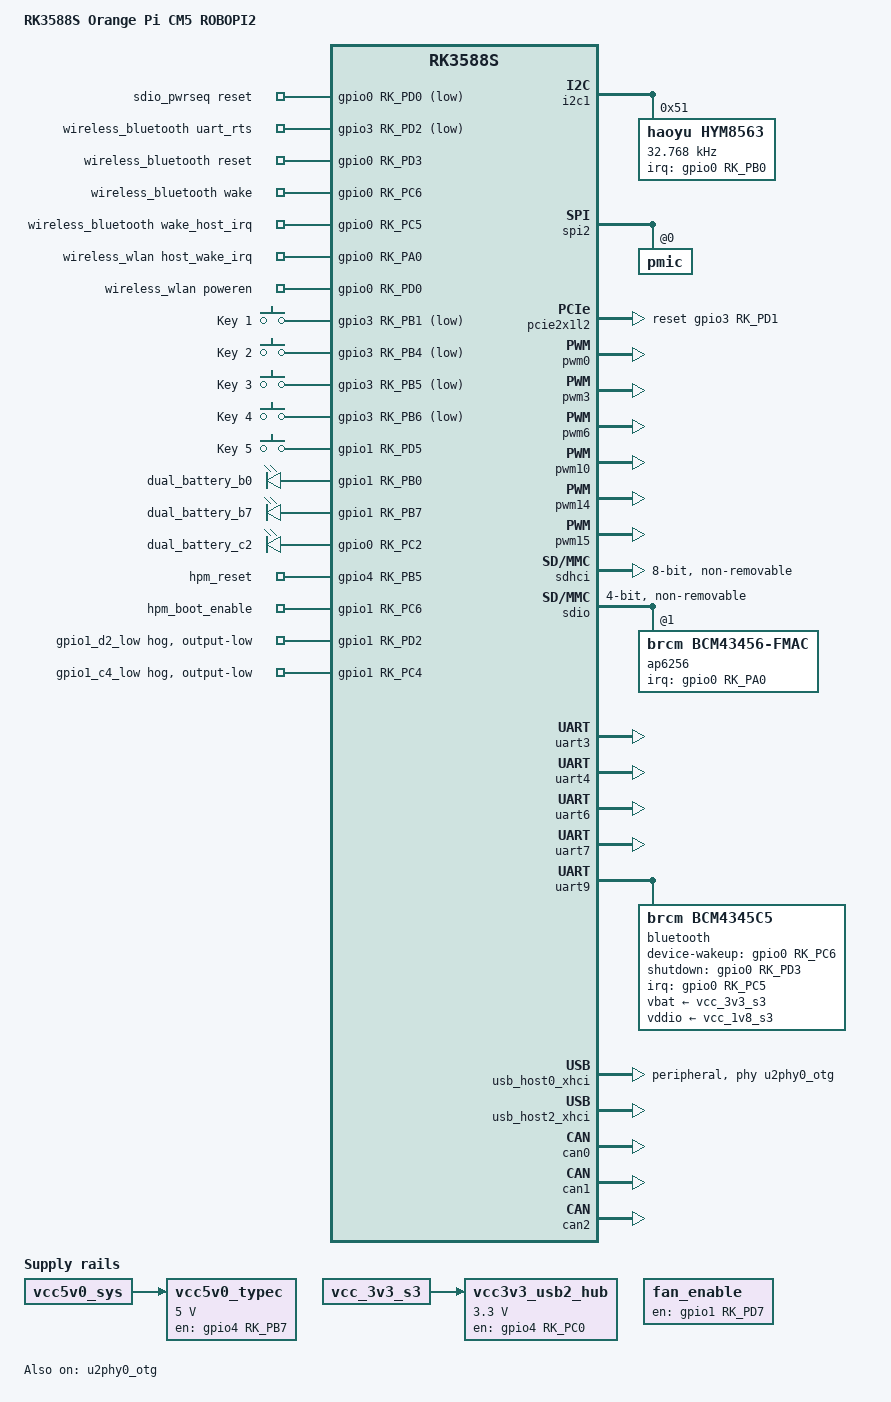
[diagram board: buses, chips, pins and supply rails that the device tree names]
// SPDX-License-Identifier: (GPL-2.0+ OR MIT)

/dts-v1/;

#include "rk3588s-orangepi-5.dtsi"

/ {
	model = "RK3588S Orange Pi CM5 ROBOPI2";
	compatible = "roboparty,robopi2", "xunlong,orangepi-5-pro", "rockchip,rk3588s";

	aliases {
		/delete-property/ ethernet0;
		mmc0 = &sdhci;
		mmc1 = &sdmmc;
		mmc2 = &sdio;
	};

	/delete-node/ regulator-vcc-3v3-sd-s0;
	/delete-node/ pwm-leds;
	/delete-node/ analog-sound;

	// ethernet_switch: ethernet-switch {
	// 	compatible = "realtek,rtl8365mb";
	// 	pinctrl-names = "default";
	// 	pinctrl-0 = <&rtl8367_smi_pins>;
	// 	mdc-gpios = <&gpio4 RK_PB1 GPIO_ACTIVE_HIGH>;
	// 	mdio-gpios = <&gpio4 RK_PB0 GPIO_ACTIVE_HIGH>;

	// 	ports {
	// 		#address-cells = <1>;
	// 		#size-cells = <0>;

	// 		port@0 {
	// 			reg = <0>;
	// 			ethernet = <&rtl8125_0>;
	// 			phy-mode = "internal";
	// 			phy-handle = <&switchphy0>;
	// 			dsa-tag-protocol = "rtl8_4";
	// 		};

	// 		port@1 {
	// 			reg = <1>;
	// 			label = "p1";
	// 			phy-handle = <&switchphy1>;
	// 		};

	// 		port@2 {
	// 			reg = <2>;
	// 			label = "p2";
	// 			phy-handle = <&switchphy2>;
	// 		};
	// 	};

	// 	mdio {
	// 		compatible = "realtek,smi-mdio";
	// 		#address-cells = <1>;
	// 		#size-cells = <0>;

	// 		switchphy0: ethernet-phy@0 {
	// 			reg = <0>;
	// 		};

	// 		switchphy1: ethernet-phy@1 {
	// 			reg = <1>;
	// 		};

	// 		switchphy2: ethernet-phy@2 {
	// 			reg = <2>;
	// 		};
	// 	};
	// };

	dp0-con {
		compatible = "dp-connector";
		type = "full-size";
		status = "disabled";

		port {
			dp_con_in: endpoint {
				remote-endpoint = <&dp0_out_con>;
			};
		};
	};

	/* GPIO1_D7 drives the fan MOSFET; keep the fan on at full speed. */
	fan_enable: regulator-fan-enable {
		compatible = "regulator-fixed";
		regulator-name = "fan_enable";
		enable-active-high;
		gpios = <&gpio1 RK_PD7 GPIO_ACTIVE_HIGH>;
		pinctrl-names = "default";
		pinctrl-0 = <&fan_enable_gpio>;
		regulator-always-on;
		regulator-boot-on;
	};

	/* PCIe 2.0 Regulator for MT YT6801 (PCIE-to-Ethernet) */
	/* USB Type-C 5V supply */
	vcc5v0_typec: regulator-vcc5v0-typec {
		compatible = "regulator-fixed";
		enable-active-high;
		gpios = <&gpio4 RK_PB7 GPIO_ACTIVE_HIGH>;
		pinctrl-names = "default";
		pinctrl-0 = <&vcc5v0_typec_en>;
		regulator-always-on;
		regulator-boot-on;
		regulator-max-microvolt = <5000000>;
		regulator-min-microvolt = <5000000>;
		regulator-name = "vcc5v0_typec";
		vin-supply = <&vcc5v0_sys>;
	};

	/* USB 2.0 hub 3.3V supply */
	vcc3v3_usb2_hub: regulator-vcc3v3-usb2-hub {
		compatible = "regulator-fixed";
		enable-active-high;
		gpios = <&gpio4 RK_PC0 GPIO_ACTIVE_HIGH>;
		pinctrl-names = "default";
		pinctrl-0 = <&vcc3v3_usb2_hub_en>;
		regulator-always-on;
		regulator-boot-on;
		regulator-min-microvolt = <3300000>;
		regulator-max-microvolt = <3300000>;
		regulator-name = "vcc3v3_usb2_hub";
		vin-supply = <&vcc_3v3_s3>;
	};

	/delete-node/ vbus_typec;
	/delete-node/ vcc_3v3_sd_s0;

	/* Power Sequence for SDIO (WiFi/Bluetooth Card) */
	sdio_pwrseq: sdio-pwrseq {
		compatible = "mmc-pwrseq-simple";
		clocks = <&hym8563>;
		clock-names = "ext_clock";
		pinctrl-names = "default";
		pinctrl-0 = <&wifi_enable_h>;
		/*
		 * On the module itself this is one of these (depending
		 * on the actual card populated):
		 * - SDIO_RESET_L_WL_REG_ON
		 * - PDN (power down when low)
		 */
		post-power-on-delay-ms = <200>;
		reset-gpios = <&gpio0 RK_PD0 GPIO_ACTIVE_LOW>;
	};

	wireless_bluetooth: wireless-bluetooth {
		compatible = "bluetooth-platdata";
		clocks = <&hym8563>;
		clock-names = "ext_clock";
		uart_rts_gpios = <&gpio3 RK_PD2 GPIO_ACTIVE_LOW>;
		pinctrl-names = "default", "rts_gpio";
		pinctrl-0 = <&uart9m2_rtsn>,  <&bt_reset_gpio>, <&bt_wake_gpio>, <&bt_irq_gpio>;
		pinctrl-1 = <&uart9_gpios>;
		BT,reset_gpio    = <&gpio0 RK_PD3 GPIO_ACTIVE_HIGH>;
		BT,wake_gpio     = <&gpio0 RK_PC6 GPIO_ACTIVE_HIGH>;
		BT,wake_host_irq = <&gpio0 RK_PC5 GPIO_ACTIVE_HIGH>;
		status = "okay";
	};

	wireless_wlan: wireless-wlan {
		compatible = "wlan-platdata";
		wifi_chip_type = "ap6256";
		pinctrl-names = "default";
		pinctrl-0 = <&wifi_host_wake_irq>;
		WIFI,host_wake_irq = <&gpio0 RK_PA0 GPIO_ACTIVE_HIGH>;
		WIFI,poweren_gpio = <&gpio0 RK_PD0 GPIO_ACTIVE_HIGH>;
		status = "okay";
		clocks = <&hym8563>;
		clock-names = "ref_wifi_clk";
	};

	gpio_keys: gpio-keys {
		compatible = "gpio-keys";
		autorepeat;
		pinctrl-names = "default";
		pinctrl-0 = <&key1_pin &key2_pin &key3_pin &key4_pin &key5_pin>;

		key1 {
			label = "Key 1";
			linux,code = <KEY_PROG1>;
			gpios = <&gpio3 RK_PB1 GPIO_ACTIVE_LOW>;
			debounce-interval = <20>;
		};
		key2 {
			label = "Key 2";
			linux,code = <KEY_PROG2>;
			gpios = <&gpio3 RK_PB4 GPIO_ACTIVE_LOW>;
			debounce-interval = <20>;
		};
		key3 {
			label = "Key 3";
			linux,code = <KEY_PROG3>;
			gpios = <&gpio3 RK_PB5 GPIO_ACTIVE_LOW>;
			debounce-interval = <20>;
		};
		key4 {
			label = "Key 4";
			linux,code = <KEY_PROG4>;
			gpios = <&gpio3 RK_PB6 GPIO_ACTIVE_LOW>;
			debounce-interval = <20>;
		};
		key5 {
			label = "Key 5";
			linux,code = <BTN_5>;
			gpios = <&gpio1 RK_PD5 GPIO_ACTIVE_HIGH>;
			debounce-interval = <20>;
		};
	};

	dual-battery-control {
		compatible = "gpio-leds";
		pinctrl-names = "default";
		pinctrl-0 = <&dual_battery_b0_pin
			     &dual_battery_b7_pin
			     &dual_battery_c2_pin>;

		dual-battery-b0 {
			label = "dual_battery_b0";
			gpios = <&gpio1 RK_PB0 GPIO_ACTIVE_HIGH>;
			linux,default-trigger = "none";
			default-state = "off";
		};

		dual-battery-b7 {
			label = "dual_battery_b7";
			gpios = <&gpio1 RK_PB7 GPIO_ACTIVE_HIGH>;
			linux,default-trigger = "none";
			default-state = "off";
		};

		dual-battery-c2 {
			label = "dual_battery_c2";
			gpios = <&gpio0 RK_PC2 GPIO_ACTIVE_HIGH>;
			linux,default-trigger = "none";
			default-state = "off";
		};
	};

	/* HPM reset and boot control */
	hpm_control: hpm-control {
		compatible = "gpio-leds";
		pinctrl-names = "default";
		pinctrl-0 = <&hpm_reset_gpio &hpm_boot_en_gpio>;

		hpm-reset {
			label = "hpm_reset";
			gpios = <&gpio4 RK_PB5 GPIO_ACTIVE_HIGH>;
			linux,default-trigger = "none";
			default-state = "on";
		};

		hpm-boot-enable {
			label = "hpm_boot_enable";
			gpios = <&gpio1 RK_PC6 GPIO_ACTIVE_HIGH>;
			linux,default-trigger = "default-on";
			default-state = "on";
		};
	};
};

&gpio1 {
	gpio1_d2_low: gpio1-d2-low-hog {
		gpio-hog;
		gpios = <RK_PD2 GPIO_ACTIVE_HIGH>;
		output-low;
		line-name = "gpio1_d2_low";
	};

	gpio1_c4_low: gpio1-c4-low-hog {
		gpio-hog;
		gpios = <RK_PC4 GPIO_ACTIVE_HIGH>;
		output-low;
		line-name = "gpio1_c4_low";
	};
};

/* Disable gmac1 as the pro has a PCIe attached NIC */
&gmac1 {
	status = "disabled";
};

/* ROBOPI2 has no hdmi */
&hdmi0 {
	status = "disabled";
};

/* ROBOPI2 routes the HYM8563 RTC to i2c1 instead of the inherited i2c6. */
/delete-node/ &hym8563;
/delete-node/ &es8388;
/delete-node/ &usbc0;

// &i2c0 is pmic

&i2c1 {
	status = "okay";
	pinctrl-names = "default";
	pinctrl-0 = <&i2c1m2_xfer>;

	hym8563: hym8563@51 {
		compatible = "haoyu,hym8563";
		reg = <0x51>;
		#clock-cells = <0>;
		clock-frequency = <32768>;
		clock-output-names = "hym8563";
		pinctrl-names = "default";
		pinctrl-0 = <&hym8563_int>;
		interrupt-parent = <&gpio0>;
		interrupts = <RK_PB0 IRQ_TYPE_LEVEL_LOW>;
		status = "okay";
	};
};

// &i2c2 is pmic

&i2c3 {
	pinctrl-names = "default";
	pinctrl-0 = <&i2c3m0_xfer>;
	status = "disabled";
};

&i2c4 {
	status = "disabled";
	pinctrl-names = "default";
	pinctrl-0 = <&i2c4m3_xfer>;
};

&i2c5 {
	status = "disabled";
	pinctrl-names = "default";
	pinctrl-0 = <&i2c5m3_xfer>;
};

&i2c6 {
	status = "disabled";
};

&i2c7 {
	status = "disabled";
	pinctrl-names = "default";
	pinctrl-0 = <&i2c7m3_xfer>;
};

/*
 * i2s1_8ch uses i2s1m0 which occupies GPIO4_PA0 (CLKREQ#) and GPIO4_PA1
 * (WAKE#) needed for the NVMe M.2 slot. Disable it; audio is on i2s2_2ch.
 */
&i2s1_8ch {
	status = "disabled";
};

/* Audio codec on i2s2, m1 mux; add mclk pin to the base pinctrl */
&i2s2_2ch {
	status = "disabled";
};

&spi0 {
	status = "disabled";
    assigned-clocks = <&cru CLK_SPI0>;
    assigned-clock-rates = <200000000>;
};

&spi1 {
	status = "disabled";
	assigned-clocks = <&cru CLK_SPI1>;
	assigned-clock-rates = <200000000>;
};

/*
 * The reset key is wired to the RK806 PWRCTRL1 pin.  The shared
 * rk3588s-orangepi-5.dtsi PMIC node forces that pin to pin_fun0 (NULL) with
 * its rk806_dvs1_null group, which disables the key.  Mirror the vendor
 * robopi2 base (rk3588-rk806-single.dtsi): leave PWRCTRL1 for the key and
 * configure it as a reset input, and only null PWRCTRL2/PWRCTRL3.
 *
 * reset-mode 0 ("restart PMU") is what the bootloader leaves in place: U-Boot
 * defaults pmic-reset-func to 0 and then skips the register write entirely,
 * which is why the key already resets the board in U-Boot.  Mode 1 - the
 * shared rk3588s-orangepi-5.dtsi default - only resets the PMIC registers
 * without pulling RESETB, so the SoC keeps running and the key appears dead.
 */
&spi2 {
	pmic@0 {
		rockchip,reset-mode = <0>;
		pinctrl-names = "default", "pmic-power-off";
		pinctrl-0 = <&pmic_pins>, <&rk806_dvs1_rst>,
			    <&rk806_dvs2_null>, <&rk806_dvs3_null>;
		pinctrl-1 = <&rk806_dvs1_pwrdn>;

		rk806_dvs1_rst: dvs1-rst-pins {
			pins = "gpio_pwrctrl1";
			function = "pin_fun3";	/* PWRCTRL_RST_FUN */
		};

		rk806_dvs1_pwrdn: dvs1-pwrdn-pins {
			pins = "gpio_pwrctrl1";
			function = "pin_fun2";	/* PWRCTRL_POWOFF_FUN */
		};

		pwrkey {
			status = "okay";
		};
	};
};

&sata0 {
	status = "disabled";
};

/* Enable NVMe */
&pcie2x1l1 {
	pinctrl-names = "default";
	pinctrl-0 = <&pcie30x1m1_1_clkreqn &pcie30x1m1_1_waken>;
	reset-gpios = <&gpio4 RK_PA2 GPIO_ACTIVE_HIGH>;
	supports-clkreq;
	status = "disabled";
};

/* Enable NIC */
&pcie2x1l2 {
	reset-gpios = <&gpio3 RK_PD1 GPIO_ACTIVE_HIGH>;
	status = "okay";

	// pcie@0,0 {
	// 	reg = <0x00400000 0 0 0 0>;
	// 	#address-cells = <3>;
	// 	#size-cells = <2>;
	// 	ranges;
	// 	device_type = "pci";
	// 	bus-range = <0x40 0x4f>;

	// 	rtl8125_0: ethernet@0,0 {
	// 		compatible = "pci10ec,8125";
	// 		reg = <0x00410000 0 0 0 0>;
	// 	};
	// };
};

&pinctrl {

	realtek-switch {
		rtl8367_smi_pins: rtl8367-smi-pins {
			rockchip,pins =
				<4 RK_PB1 RK_FUNC_GPIO &pcfg_pull_up>,
				<4 RK_PB0 RK_FUNC_GPIO &pcfg_pull_up>;
		};
	};

	usb-typec {
		usbc0_int: usbc0-int {
			rockchip,pins = <4 RK_PA3 RK_FUNC_GPIO &pcfg_pull_up>;
		};

		typec5v_pwren: typec5v-pwren {
			rockchip,pins = <4 RK_PA4 RK_FUNC_GPIO &pcfg_pull_none>;
		};
	};

	usb {
		vcc5v0_typec_en: vcc5v0-typec-en {
			rockchip,pins = <4 RK_PB7 RK_FUNC_GPIO &pcfg_pull_none>;
		};

		vcc3v3_usb2_hub_en: vcc3v3-usb2-hub-en {
			rockchip,pins = <4 RK_PC0 RK_FUNC_GPIO &pcfg_pull_none>;
		};

		vcc5v0_host_en: vcc5v0-host-en {
			rockchip,pins = <4 RK_PA4 RK_FUNC_GPIO &pcfg_pull_none>;
		};
	};

	sdio-pwrseq {
		wifi_enable_h: wifi-enable-h {
			rockchip,pins = <0 RK_PD0 RK_FUNC_GPIO &pcfg_pull_none>;
		};
	};

	wireless-bluetooth {
		uart9_gpios: uart9-gpios {
			rockchip,pins = <3 RK_PD2 RK_FUNC_GPIO &pcfg_pull_none>;
		};

		bt_reset_gpio: bt-reset-gpio {
			rockchip,pins = <0 RK_PD3 RK_FUNC_GPIO &pcfg_pull_none>;
		};

		bt_wake_gpio: bt-wake-gpio {
			rockchip,pins = <0 RK_PC6 RK_FUNC_GPIO &pcfg_pull_none>;
		};

		bt_irq_gpio: bt-irq-gpio {
			rockchip,pins = <0 RK_PC5 RK_FUNC_GPIO &pcfg_pull_down>;
		};
	};

	wireless-wlan {
		wifi_host_wake_irq: wifi-host-wake-irq {
			rockchip,pins = <0 RK_PA0 RK_FUNC_GPIO &pcfg_pull_down>;
		};
	};

	fan {
		fan_enable_gpio: fan-enable-gpio {
			rockchip,pins = <1 RK_PD7 RK_FUNC_GPIO &pcfg_pull_none>;
		};
	};

	hpm-control {
		hpm_reset_gpio: hpm-reset-gpio {
			rockchip,pins = <4 RK_PB5 RK_FUNC_GPIO &pcfg_pull_none>;
		};

		hpm_boot_en_gpio: hpm-boot-en-gpio {
			rockchip,pins = <1 RK_PC6 RK_FUNC_GPIO &pcfg_pull_none>;
		};
	};

	gpio-keys {
		key1_pin: key1-pin {
			rockchip,pins = <3 RK_PB1 RK_FUNC_GPIO &pcfg_pull_up>;
		};
		key2_pin: key2-pin {
			rockchip,pins = <3 RK_PB4 RK_FUNC_GPIO &pcfg_pull_up>;
		};
		key3_pin: key3-pin {
			rockchip,pins = <3 RK_PB5 RK_FUNC_GPIO &pcfg_pull_up>;
		};
		key4_pin: key4-pin {
			rockchip,pins = <3 RK_PB6 RK_FUNC_GPIO &pcfg_pull_up>;
		};
		key5_pin: key5-pin {
			rockchip,pins = <1 RK_PD5 RK_FUNC_GPIO &pcfg_pull_down>;
		};
	};

	dual-battery-control {
		dual_battery_b0_pin: dual-battery-b0-pin {
			rockchip,pins = <1 RK_PB0 RK_FUNC_GPIO &pcfg_pull_down>;
		};

		dual_battery_b7_pin: dual-battery-b7-pin {
			rockchip,pins = <1 RK_PB7 RK_FUNC_GPIO &pcfg_pull_down>;
		};

		dual_battery_c2_pin: dual-battery-c2-pin {
			rockchip,pins = <0 RK_PC2 RK_FUNC_GPIO &pcfg_pull_down_drv_level_5>;
		};
	};
};

/*
 * On RoboPi2, GPIO0_C2 is wired to the dual-battery select line and is used as
 * a plain GPIO.  In the shared SoC pinctrl it is part of pmic_pins as
 * pmic_sleep4; keeping it there makes the rk806 SPI device fail to apply its
 * pinctrl ("pin gpio0-18 already requested by dual-battery-control"), which
 * aborts the rk806 probe.  Without the PMIC, every rk806 regulator - including
 * the little-cluster CPU supply vdd_cpu_lit_s0 - never registers, so cpufreq-dt
 * stays deferred and the CPUs keep booting at 816 MHz.  Drop the pin here.
 */
&pmic_pins {
	rockchip,pins =
		/* pmic_int_l */
		<0 RK_PA7 0 &pcfg_pull_up>,
		/* pmic_sleep1 */
		<0 RK_PA2 1 &pcfg_pull_none>,
		/* pmic_sleep2 */
		<0 RK_PA3 1 &pcfg_pull_none>,
		/* pmic_sleep3 */
		<0 RK_PC1 1 &pcfg_pull_none>,
		/* pmic_sleep5 */
		<0 RK_PC3 1 &pcfg_pull_none>,
		/* pmic_sleep6 */
		<0 RK_PD6 1 &pcfg_pull_none>;
};

&pwm0 {
	pinctrl-names = "active";
	pinctrl-0 = <&pwm0m2_pins>;
	status = "okay";
};

&pwm1 {
	pinctrl-names = "active";
	pinctrl-0 = <&pwm1m2_pins>;
	status = "disabled";
};

&pwm3 {
	pinctrl-names = "active";
	pinctrl-0 = <&pwm3m3_pins>;
	status = "okay";
};

//led dengdai
&pwm6 {
	pinctrl-names = "active";
	pinctrl-0 = <&pwm6m1_pins>;
	status = "okay";
};

&pwm10 {
	pinctrl-names = "active";
	pinctrl-0 = <&pwm10m1_pins>;
	status = "okay";
};

&pwm11 {
	pinctrl-names = "default";
	pinctrl-0 = <&pwm11m2_pins>;
	status = "disabled";
};

&pwm13 {
	pinctrl-names = "active";
	pinctrl-0 = <&pwm13m2_pins>;
	status = "disabled";
};

&pwm14 {
	pinctrl-names = "active";
	pinctrl-0 = <&pwm14m0_pins>;
	status = "okay";
};

// dengdai
&pwm15 {
	pinctrl-names = "active";
	pinctrl-0 = <&pwm15m2_pins>;
	status = "okay";
};

&sdhci {
	/delete-property/ vmmc-supply;
	bus-width = <8>;
	no-sdio;
	no-sd;
	non-removable;
	max-frequency = <200000000>;
	mmc-hs400-1_8v;
	mmc-hs400-enhanced-strobe;
	status = "okay";
};

&sdmmc {
	/delete-property/ vmmc-supply;
	/delete-property/ vqmmc-supply;
	status = "disabled";
};

/* Disable SPI Flash — pins muxed with eMMC */
&sfc {
	status = "disabled";
};

/* Enable SDIO for WiFi/Bluetooth Card */
&sdio {
	#address-cells = <1>;
	#size-cells = <0>;
	bus-width = <4>;
	cap-sd-highspeed;
	cap-sdio-irq;
	keep-power-in-suspend;
	max-frequency = <150000000>;
	mmc-pwrseq = <&sdio_pwrseq>;
	no-mmc;
	no-sd;
	non-removable;
	sd-uhs-sdr104;
	status = "okay";

	ap6256: wifi@1 {
		compatible = "brcm,bcm43456-fmac", "brcm,bcm4329-fmac";
		reg = <1>;
		interrupt-names = "host-wake";
		interrupt-parent = <&gpio0>;
		interrupts = <RK_PA0 IRQ_TYPE_LEVEL_HIGH>;
		pinctrl-names = "default";
		pinctrl-0 = <&wifi_host_wake_irq>;
	};
};

&uart0 {
	status = "disabled";
	pinctrl-0 = <&uart1m1_xfer>;
};

&uart1 {
	status = "disabled";
	pinctrl-0 = <&uart1m1_xfer>;
};

// &uart2 as uart login

// bms log
&uart3 {
	status = "okay";
	pinctrl-0 = <&uart3m0_xfer>;
};

// hpm log
&uart4 {
	status = "okay";
	pinctrl-0 = <&uart4m2_xfer>;
};

&uart5 {
	status = "disabled";
	pinctrl-0 = <&uart5m2_xfer>;
};

// yuliu uart
&uart6 {
	status = "okay";
	pinctrl-0 = <&uart6m2_xfer>;
};

// stm32 485
&uart7 {
	status = "okay";
	pinctrl-0 = <&uart7m2_xfer>;
};

/* UART8 pins overlap the AP6256 SDIO M1 pins (GPIO3-2); keep UART8 disabled. */
&uart8 {
	status = "disabled";
};

/* Enable UART for Bluetooth */
&uart9 {
	pinctrl-names = "default";
	pinctrl-0 = <&uart9m2_xfer &uart9m2_ctsn &uart9m2_rtsn>;
	uart-has-rtscts;
	status = "okay";

	bluetooth {
		compatible = "brcm,bcm4345c5";
		clock-names = "lpo";
		device-wakeup-gpios = <&gpio0 RK_PC6 GPIO_ACTIVE_HIGH>;
		interrupt-names = "host-wakeup";
		interrupt-parent = <&gpio0>;
		interrupts = <RK_PC5 IRQ_TYPE_LEVEL_HIGH>;
		max-speed = <1500000>;
		pinctrl-names = "default";
		pinctrl-0 = <&bt_irq_gpio &bt_wake_gpio>;
		shutdown-gpios = <&gpio0 RK_PD3 GPIO_ACTIVE_HIGH>;
		vbat-supply = <&vcc_3v3_s3>;
		vddio-supply = <&vcc_1v8_s3>;
	};
};

/* USB2 OTG PHY for usb_host0_xhci; phy-supply enables VBUS to USB3 Type-A port */
&u2phy0_otg {
	status = "okay";
	// phy-supply = <&vcc5v0_host>;
};

/*
 * The Pro's USB-C port is power delivery only: no FUSB302, no data lines,
 * no alt-mode switching. The parent DTSI enables usbdp_phy0 (status = "okay")
 * and adds FUSB302 alt-mode/orientation properties; delete those here.
 *
 * dp-lane-mux = <0 1>: PHY lanes 0/1 are DP (physically routed to the
 * LT8711UXD DP→HDMI2 bridge), lanes 2/3 are USB3 SuperSpeed (physically
 * routed to the USB3 Type-A port P3). Without this property the driver
 * defaults to USB-only mode and places USB3 on lanes 0/1, which do not
 * reach the Type-A connector and makes the USB3 port non-functional.
 */
&usbdp_phy0 {
	status = "disabled";
	rockchip,dp-lane-mux = <0 1>;
	/delete-property/ mode-switch;
	/delete-property/ orientation-switch;
	/delete-property/ sbu1-dc-gpios;
	/delete-property/ sbu2-dc-gpios;
	/delete-node/ port;
};

/* USB3 Type-A port*/
&usb_host0_xhci {
	/* Use the USB-C connector in device/peripheral mode for ADB gadget. */
	dr_mode = "peripheral";
	maximum-speed = "high-speed";
	phys = <&u2phy0_otg>;
	phy-names = "usb2-phy";
	/delete-property/ usb-role-switch;
	status = "okay";
	/delete-node/ port;
};

&usb_host2_xhci {
	status = "okay";
};

/* Experimental: Enable DisplayPort 1.4 to HDMI 2.0 */
&dp0 {
	status = "disabled";
};

&dp0_in {
	dp0_in_vp2: endpoint {
		remote-endpoint = <&vp2_out_dp0>;
	};
};

&dp0_out {
	dp0_out_con: endpoint {
		remote-endpoint = <&dp_con_in>;
	};
};

&vp2 {
	vp2_out_dp0: endpoint@a {
		reg = <ROCKCHIP_VOP2_EP_DP0>;
		remote-endpoint = <&dp0_in_vp2>;
	};
}; 

&can0 {
	status = "okay";
	pinctrl-names = "default";
	pinctrl-0 = <&can0m1_pins>;
	assigned-clocks = <&cru CLK_CAN0>;
	assigned-clock-rates = <200000000>;
};

&can1 {
	status = "okay";
	pinctrl-names = "default";
	pinctrl-0 = <&can1m1_pins>;
	assigned-clocks = <&cru CLK_CAN1>;
	assigned-clock-rates = <200000000>;
};

&can2 {
	status = "okay";
	pinctrl-names = "default";
	pinctrl-0 = <&can2m0_pins>;
	assigned-clocks = <&cru CLK_CAN2>;
	assigned-clock-rates = <200000000>;
};
